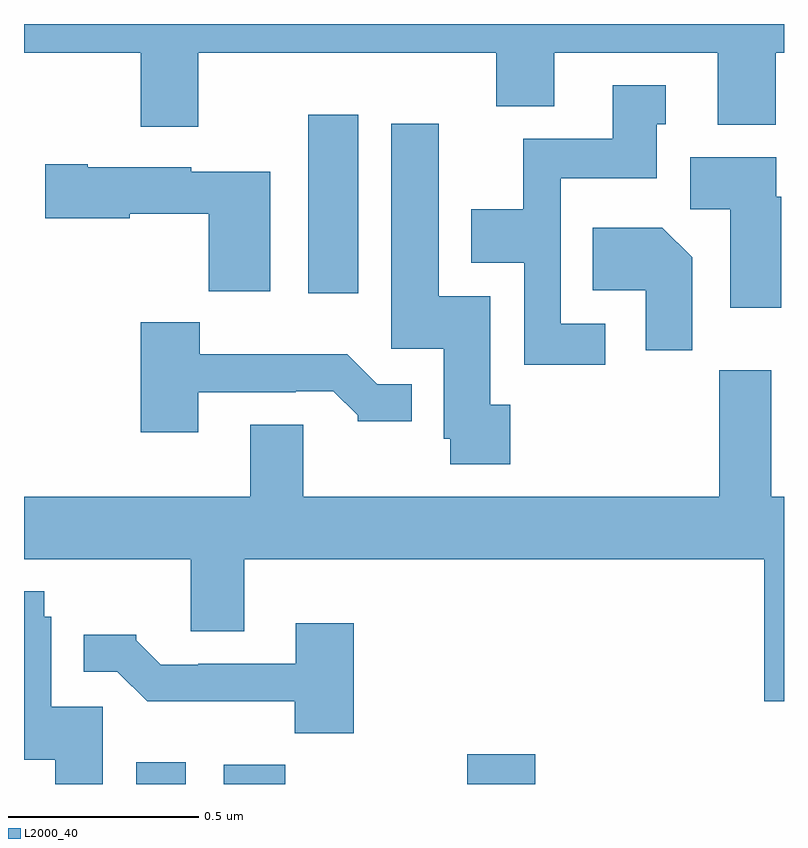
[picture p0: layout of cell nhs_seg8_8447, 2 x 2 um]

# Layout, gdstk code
import gdstk
lib = gdstk.Library(unit=1e-6, precision=1e-09)
def R(c, l, rs):  # rectangles x0, y0, x1, y1
    for r in rs: c.add(gdstk.rectangle(r[:2], r[2:], *l))
def P(c, l, *ps):  # polygons
    for p in ps: c.add(gdstk.Polygon(p, *l))
L2000_40 = (2000, 40)

nhs_seg8_8447 = lib.new_cell('nhs_seg8_8447')
R(nhs_seg8_8447, L2000_40, [(223.295,1123.9,223.426,1123.957), (223.526,1123.9,223.688,1123.951), (224.167,1123.9,224.345,1123.978), (223.748,1125.192,223.879,1125.661)])
P(nhs_seg8_8447, L2000_40, [(223.459,1125.824),(224.243,1125.824),(224.243,1125.683),(224.395,1125.683),(224.395,1125.824),(224.825,1125.824),(224.825,1125.635),(224.978,1125.635),(224.978,1125.824),(225,1125.824),(225,1125.9),(223,1125.9),(223,1125.824),(223.307,1125.824),(223.307,1125.63),(223.459,1125.63)],
  [(224.53,1125.111),(224.412,1125.111),(224.412,1125.494),(224.665,1125.494),(224.665,1125.636),(224.689,1125.636),(224.689,1125.739),(224.549,1125.739),(224.549,1125.598),(224.314,1125.598),(224.314,1125.412),(224.177,1125.412),(224.177,1125.272),(224.316,1125.272),(224.316,1125.003),(224.53,1125.003)],
  [(224.279,1124.898),(224.227,1124.898),(224.227,1125.184),(224.092,1125.184),(224.092,1125.637),(223.967,1125.637),(223.967,1125.045),(224.105,1125.045),(224.105,1124.808),(224.122,1124.808),(224.122,1124.742),(224.279,1124.742)],
  [(224.993,1125.446),(224.98,1125.446),(224.98,1125.55),(224.753,1125.55),(224.753,1125.412),(224.858,1125.412),(224.858,1125.153),(224.993,1125.153)],
  [(223.648,1125.511),(223.44,1125.511),(223.44,1125.523),(223.168,1125.523),(223.168,1125.531),(223.056,1125.531),(223.056,1125.389),(223.278,1125.389),(223.278,1125.401),(223.486,1125.401),(223.486,1125.197),(223.648,1125.197)],
  [(224.758,1125.286),(224.68,1125.364),(224.497,1125.364),(224.497,1125.2),(224.636,1125.2),(224.636,1125.042),(224.758,1125.042)],
  [(223.459,1124.931),(223.715,1124.931),(223.715,1124.934),(223.814,1124.934),(223.878,1124.87),(223.878,1124.855),(224.02,1124.855),(224.02,1124.952),(223.929,1124.952),(223.851,1125.031),(223.462,1125.031),(223.462,1125.115),(223.307,1125.115),(223.307,1124.826),(223.459,1124.826)],
  [(225,1124.656),(224.966,1124.656),(224.966,1124.989),(224.83,1124.989),(224.83,1124.656),(223.735,1124.656),(223.735,1124.846),(223.595,1124.846),(223.595,1124.656),(223,1124.656),(223,1124.492),(223.439,1124.492),(223.439,1124.302),(223.579,1124.302),(223.579,1124.492),(224.948,1124.492),(224.948,1124.118),(225,1124.118)],
  [(223.207,1124.103),(223.072,1124.103),(223.072,1124.34),(223.053,1124.34),(223.053,1124.407),(223,1124.407),(223,1123.964),(223.082,1123.964),(223.082,1123.9),(223.207,1123.9)],
  [(223.868,1124.323),(223.715,1124.323),(223.715,1124.217),(223.459,1124.217),(223.459,1124.214),(223.36,1124.214),(223.296,1124.278),(223.296,1124.293),(223.157,1124.293),(223.157,1124.196),(223.245,1124.196),(223.324,1124.118),(223.713,1124.118),(223.713,1124.033),(223.868,1124.033)])

lib.write_gds('nhs_seg8_8447.gds')
